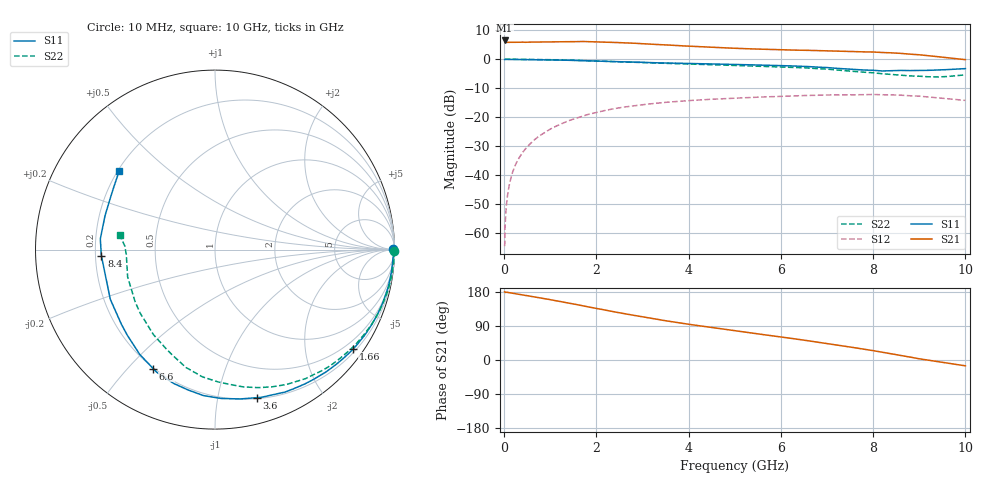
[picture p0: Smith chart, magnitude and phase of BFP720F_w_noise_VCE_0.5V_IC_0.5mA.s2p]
! Infineon Technologies  Discrete & RF Semiconductors
! BFP720F
! VCE =  0.5 V,  IC =  0.5 mA
! Common Emitter S-Parameters:  Jan 2016
# GHz  S  MA  R  50
!  f  S11  S21  S12  S22
! GHz  MAG  ANG  MAG  ANG  MAG  ANG  MAG  ANG
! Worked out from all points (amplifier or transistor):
!   233 points, 10 MHz to 10 GHz, reference 50 ohm
!   highest |S21| = 6.5 dB at 10 MHz (marker M1)
!   |S21| within 3 dB of that: start of sweep to 5.542 GHz
!   unconditionally stable (mu >= 1): nowhere
!   at 200 MHz: K = 0.00, MSG = 22.0 dB, |S12| = -38.2 dB
!   at 1.74 GHz: K = 0.14, MSG = 12.7 dB, |S12| = -19.4 dB
!   at 10 GHz: K = 0.82, MSG = 7.0 dB, |S12| = -14.2 dB
!   lowest NFmin = 0.54 dB at 450 MHz
!   S11 on the Smith chart (normalised r, x): 10 MHz: open; 1.66 GHz: 0.28, -3.09; 3.6 GHz: 0.21, -1.30; 6.6 GHz: 0.20, -0.59; 8.4 GHz: 0.22, -0.03; 10 GHz: 0.21, +0.34
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0.01  0.989 0.2  2.108 179.9  0.0006 -10.4  1 -0.6
0.015  0.9916 -0.1  2.042 179.1  0.0007 64.2  1 -0.8
0.02  0.9942 -0.3  1.976 178.3  0.0013 90.6  1 -1.0
0.035  0.9931 -0.7  1.964 178.6  0.0022 88.6  0.9991 -1.0
0.085  0.9933 -1.7  1.952 178.2  0.0052 88.7  0.9991 -1.6
0.18  0.9923 -3.6  1.959 176.3  0.0111 87.4  0.9982 -3.2
0.32  0.9911 -6.5  1.961 173.5  0.0197 84.8  0.9956 -5.8
0.54  0.9879 -11.1  1.972 168.9  0.0334 80.8  0.9929 -9.8
0.78  0.982 -16.1  1.982 163.9  0.0485 76.3  0.9885 -14.1
1.66  0.9484 -35.6  2.019 144.1  0.1024 58.9  0.9523 -31.0
1.68  0.9474 -36.1  2.021 143.6  0.1036 58.5  0.9513 -31.4
2.2  0.9209 -47.6  1.981 131.5  0.1318 47.7  0.9224 -41.4
2.58  0.9021 -55.5  1.921 122.8  0.1491 40.1  0.9011 -48.2
3.4  0.8652 -70.8  1.784 105.7  0.1775 25.1  0.855 -60.6
3.6  0.8575 -74.1  1.751 101.8  0.1832 21.7  0.8453 -63.2
5.1  0.8112 -95.8  1.536 75.7  0.2151 -0.8  0.7768 -79.1
6.6  0.7471 -117.4  1.423 50.6  0.2376 -22.1  0.7039 -97.3
6.8  0.7313 -121.4  1.41 47.0  0.2396 -25.2  0.6888 -100.5
8  0.6457 -154.6  1.332 24.7  0.247 -44.6  0.5848 -125.9
8.4  0.634 -176.9  1.289 16.2  0.2432 -52.3  0.5472 -139.5
9  0.6412 162.8  1.194 3.2  0.231 -64.2  0.5101 -162.6
10  0.6896 140.8  0.984 -15.4  0.1949 -80.5  0.5379 171.2
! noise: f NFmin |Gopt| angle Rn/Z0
0.45  0.54  0.9  6  0.96
0.9  0.77  0.88  13  1.01
2.4  1.03  0.86  32  0.7
5.5  1.54  0.73  97  0.46
